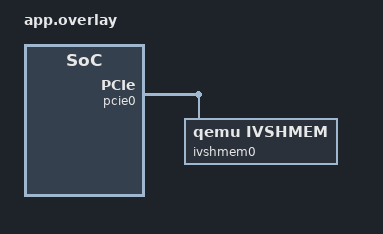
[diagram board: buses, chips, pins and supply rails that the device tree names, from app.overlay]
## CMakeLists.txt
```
# SPDX-License-Identifier: Apache-2.0

cmake_minimum_required(VERSION 3.20.0)
find_package(Zephyr REQUIRED HINTS $ENV{ZEPHYR_BASE})
project(coverage_ivshmem)

target_sources(app PRIVATE src/main.c)
```

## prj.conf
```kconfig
CONFIG_ZTEST=y
CONFIG_PCIE=y
CONFIG_VIRTUALIZATION=y
CONFIG_IVSHMEM=y

# Give the shared region room for the gcov data.
CONFIG_QEMU_IVSHMEM_PLAIN_MEM_SIZE=4

# When twister enables coverage (CONFIG_COVERAGE_GCOV), route the dump through
# ivshmem instead of the console. Ignored when coverage is not enabled.
CONFIG_COVERAGE_IVSHMEM=y
```

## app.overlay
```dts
/*
 * SPDX-FileCopyrightText: Copyright The Zephyr Project Contributors
 * SPDX-License-Identifier: Apache-2.0
 */
#include <zephyr/dt-bindings/pcie/pcie.h>

/ {
	pcie0 {
		ivshmem0: ivshmem0 {
			compatible = "qemu,ivshmem";

			vendor-id = <0x1af4>;
			device-id = <0x1110>;

			status = "okay";
		};
	};
};
```

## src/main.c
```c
/*
 * SPDX-FileCopyrightText: Copyright The Zephyr Project Contributors
 * SPDX-License-Identifier: Apache-2.0
 */

#include <zephyr/ztest.h>

/*
 * A few branchy helpers so that, when built with coverage, there is real gcov
 * data to carry out of the guest through the ivshmem region.
 */
static int classify(int value)
{
	if (value < 0) {
		return -1;
	} else if (value == 0) {
		return 0;
	}
	return 1;
}

static int sum_evens(const int *values, size_t count)
{
	int sum = 0;

	for (size_t i = 0; i < count; i++) {
		if ((values[i] % 2) == 0) {
			sum += values[i];
		}
	}

	return sum;
}

ZTEST(coverage_ivshmem, test_classify)
{
	zassert_equal(classify(-5), -1);
	zassert_equal(classify(0), 0);
	zassert_equal(classify(7), 1);
}

ZTEST(coverage_ivshmem, test_sum_evens)
{
	const int values[] = {1, 2, 3, 4, 5, 6};

	zassert_equal(sum_evens(values, ARRAY_SIZE(values)), 12);
	zassert_equal(sum_evens(NULL, 0), 0);
}

ZTEST_SUITE(coverage_ivshmem, NULL, NULL, NULL, NULL, NULL);
```
